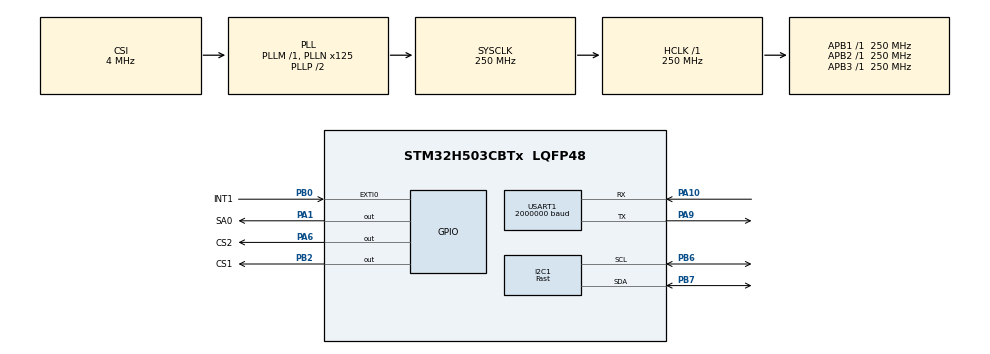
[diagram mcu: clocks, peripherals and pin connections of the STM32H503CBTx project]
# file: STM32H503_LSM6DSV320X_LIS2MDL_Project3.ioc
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I2C1.I2C_Speed_Mode=I2C_Fast
I2C1.Timing=0x10C043E5
Mcu.Family=STM32H5
Mcu.Name=STM32H503CBTx
Mcu.Package=LQFP48
NVIC.EXTI0_IRQn=true\:0\:0\:false\:false\:true\:true\:true\:true
NVIC.PriorityGroup=NVIC_PRIORITYGROUP_4
PA1.GPIO_Label=SA0
PA1.Signal=GPIO_Output
PA10.Mode=Asynchronous
PA10.Signal=USART1_RX
PA6.GPIO_Label=CS2
PA6.Signal=GPIO_Output
PA9.Mode=Asynchronous
PA9.Signal=USART1_TX
PB0.GPIO_Label=INT1
PB0.Signal=GPXTI0
PB2.GPIO_Label=CS1
PB2.Signal=GPIO_Output
PB6.Mode=I2C
PB6.Signal=I2C1_SCL
PB7.Mode=I2C
PB7.Signal=I2C1_SDA
ProjectManager.HeapSize=0x2000
ProjectManager.StackSize=0x4000
ProjectManager.TargetToolchain=MDK-ARM V5.37
RCC.ADCFreq_Value=250000000
RCC.AHBFreq_Value=250000000
RCC.APB1Freq_Value=250000000
RCC.APB1TimFreq_Value=250000000
RCC.APB2Freq_Value=250000000
RCC.APB2TimFreq_Value=250000000
RCC.APB3Freq_Value=250000000
RCC.CSI_VALUE=4000000
RCC.CortexFreq_Value=250000000
RCC.EPOD_VALUE=4000000
RCC.HCLKFreq_Value=250000000
RCC.HSE_VALUE=25000000
RCC.HSI48_VALUE=48000000
RCC.HSI_VALUE=64000000
RCC.LSE_VALUE=32768
RCC.LSIRC_VALUE=32000
RCC.PLL2FRACN=0
RCC.PLLFRACN=0
RCC.PLLN=125
RCC.SYSCLKFreq_VALUE=250000000
RCC.SYSCLKSource=RCC_SYSCLKSOURCE_PLLCLK
RCC.USBFreq_Value=48000000
RCC.VCOOutputFreq_Value=500000000
USART1.BaudRate=2000000
USART1.VirtualMode-Asynchronous=VM_ASYNC
VP_BOOTPATH_VS_BOOTPATH.Mode=BP_Activate
VP_CORTEX_M33_NS_VS_Hclk.Mode=Hclk_Mode
VP_ICACHE_VS_ICACHE.Mode=DirectMappedCache
VP_MEMORYMAP_VS_MEMORYMAP.Mode=CurAppReg
VP_PWR_VS_LPOM.Mode=PowerOptimisation
VP_PWR_VS_SECSignals.Mode=Security/Privilege
board=custom

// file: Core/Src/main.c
/* USER CODE BEGIN Header */
/**
  ******************************************************************************
  * @file           : main.c
  * @brief          : Main program body
  ******************************************************************************
  * @attention
  *
  * Copyright (c) 2026 STMicroelectronics.
  * All rights reserved.
  *
  * This software is licensed under terms that can be found in the LICENSE file
  * in the root directory of this software component.
  * If no LICENSE file comes with this software, it is provided AS-IS.
  *
  ******************************************************************************
  */
/* USER CODE END Header */
#include "main.h"
#include "i2c.h"
#include "icache.h"
#include "usart.h"
#include "gpio.h"

/* USER CODE BEGIN Includes */
#include "stdio.h"
#include "lsm6dsv320x_reg.h"
/* USER CODE END Includes */

void SystemClock_Config(void);
/* USER CODE BEGIN PFP */
int fputc(int ch, FILE *f){
	HAL_UART_Transmit(&huart1 , (uint8_t *)&ch, 1, 0xFFFF);
	return ch;
}

#define SENSOR_BUS hi2c1

/* Private macro -------------------------------------------------------------*/
#define    BOOT_TIME            10 //ms
#define    CNT_FOR_OUTPUT       10

/* Private variables ---------------------------------------------------------*/
static int16_t data_raw_motion[3];
static int16_t data_raw_temperature;
static float_t acceleration_mg[3];
static float_t angular_rate_mdps[3];
static float_t temperature_degC;
static uint8_t whoamI;
static uint8_t tx_buffer[1000];

static lsm6dsv320x_filt_settling_mask_t filt_settling_mask;

/* Extern variables ----------------------------------------------------------*/

/* Private functions ---------------------------------------------------------*/

/*
 *   WARNING:
 *   Functions declare in this section are defined at the end of this file
 *   and are strictly related to the hardware platform used.
 *
 */
static int32_t platform_write(void *handle, uint8_t reg, const uint8_t *bufp,
                              uint16_t len);
static int32_t platform_read(void *handle, uint8_t reg, uint8_t *bufp,
                             uint16_t len);
static void tx_com( uint8_t *tx_buffer, uint16_t len );
static void platform_delay(uint32_t ms);
static void platform_init(void);

static   stmdev_ctx_t dev_ctx;
volatile  uint8_t thread_wake = 0;

typedef struct
{
  float yaw;
  float pitch;
  float roll;
} euler_angle_t;

typedef struct
{
  float quat_w;
  float quat_x;
  float quat_y;
  float quat_z;
} quaternion_t;

static float_t npy_half_to_float(uint16_t h)
{
    union { float_t ret; uint32_t retbits; } conv;
    conv.retbits = lsm6dsv320x_from_f16_to_f32(h);
    return conv.ret;
}

static void sflp2q(float_t quat[4], uint16_t sflp[3])
{
  float_t sumsq = 0;

  quat[0] = npy_half_to_float(sflp[0]);
  quat[1] = npy_half_to_float(sflp[1]);
  quat[2] = npy_half_to_float(sflp[2]);

  for (uint8_t i = 0; i < 3; i++)
    sumsq += quat[i] * quat[i];

  if (sumsq > 1.0f) {
    float_t n = sqrtf(sumsq);
    quat[0] /= n;
    quat[1] /= n;
    quat[2] /= n;
    sumsq = 1.0f;
  }

  quat[3] = sqrtf(1.0f - sumsq);
}

void HAL_GPIO_EXTI_Rising_Callback(uint16_t GPIO_Pin)
{
  if (GPIO_Pin == INT1_Pin) {
    thread_wake = 1;
  }
}

void quaternion_to_euler_angle(quaternion_t *q,euler_angle_t *euler)
{
		if (q->quat_w < 0.0f) {
			q->quat_x *= -1.0f;
			q->quat_y *= -1.0f;
			q->quat_z *= -1.0f;
			q->quat_w *= -1.0f;
		}

		float sqx = q->quat_x * q->quat_x;
		float sqy = q->quat_y * q->quat_y;
		float sqz = q->quat_z * q->quat_z;

		euler->yaw = -atan2f(2.0f * (q->quat_y * q->quat_w + q->quat_x * q->quat_z), 1.0f - 2.0f * (sqy + sqx));
		euler->pitch = -atan2f(2.0f * (q->quat_x * q->quat_y + q->quat_z * q->quat_w), 1.0f - 2.0f * (sqx + sqz));
		euler->roll = -asinf(2.0f * (q->quat_x * q->quat_w - q->quat_y * q->quat_z));

		if (euler->yaw < 0.0f)
		{
			euler->yaw += 2.0f * 3.1415926;
		}

		euler->yaw = 57.29578 * euler->yaw;
		euler->pitch = 57.29578 * euler->pitch;
		euler->roll = 57.29578 * euler->roll;
}
/* USER CODE END PFP */

int main(void)
{

  /* MCU Configuration--------------------------------------------------------*/

  /* Reset of all peripherals, Initializes the Flash interface and the Systick. */
  HAL_Init();

  /* Configure the system clock */
  SystemClock_Config();

  /* Initialize all configured peripherals */
  MX_GPIO_Init();
  MX_I2C1_Init();
  MX_ICACHE_Init();
  MX_USART1_UART_Init();
  /* USER CODE BEGIN 2 */
	printf("HELLO!\n");
  HAL_GPIO_WritePin(CS1_GPIO_Port, CS1_Pin, GPIO_PIN_SET);
  HAL_GPIO_WritePin(SA0_GPIO_Port, SA0_Pin, GPIO_PIN_RESET);
  HAL_GPIO_WritePin(CS2_GPIO_Port, CS2_Pin, GPIO_PIN_SET);
	HAL_Delay(100);

  /* Initialize mems driver interface */
  dev_ctx.write_reg = platform_write;
  dev_ctx.read_reg = platform_read;
  dev_ctx.mdelay = platform_delay;
  dev_ctx.handle = &SENSOR_BUS;
  /* Init test platform */
//  platform_init();
  /* Wait sensor boot time */
  platform_delay(BOOT_TIME);

  /* Check device ID */
  lsm6dsv320x_device_id_get(&dev_ctx, &whoamI);
  printf("WHO_AM_I=0x%02X (expect 0x%02X)\r\n", whoamI, LSM6DSV320X_ID);
  if (whoamI != LSM6DSV320X_ID) {
    printf("ERROR: device id mismatch!\r\n");
    while (1) { }
  }

  /* Perform device power-on-reset */
  lsm6dsv320x_sw_por(&dev_ctx);

  /* Enable Block Data Update */
  lsm6dsv320x_block_data_update_set(&dev_ctx, PROPERTY_ENABLE);

  /* Set Output Data Rate.
   * Selected data rate have to be equal or greater with respect
   * with MLC data rate.
   */
  lsm6dsv320x_xl_setup(&dev_ctx, LSM6DSV320X_ODR_AT_120Hz, LSM6DSV320X_XL_HIGH_PERFORMANCE_MD);
  lsm6dsv320x_gy_setup(&dev_ctx, LSM6DSV320X_ODR_AT_120Hz, LSM6DSV320X_GY_HIGH_PERFORMANCE_MD);
	lsm6dsv320x_hg_xl_data_rate_set(&dev_ctx, LSM6DSV320X_HG_XL_ODR_AT_480Hz, 1);
	lsm6dsv320x_gy_setup(&dev_ctx,LSM6DSV320X_ODR_AT_120Hz,LSM6DSV320X_GY_HIGH_PERFORMANCE_MD);
  /* Set full scale */
  lsm6dsv320x_xl_full_scale_set(&dev_ctx, LSM6DSV320X_2g);
	lsm6dsv320x_hg_xl_full_scale_set(&dev_ctx, LSM6DSV320X_320g);
  lsm6dsv320x_gy_full_scale_set(&dev_ctx, LSM6DSV320X_2000dps);

  /* Configure filtering chain */
  filt_settling_mask.drdy = PROPERTY_ENABLE;
  filt_settling_mask.irq_xl = PROPERTY_ENABLE;
  filt_settling_mask.irq_g = PROPERTY_ENABLE;
  lsm6dsv320x_filt_settling_mask_set(&dev_ctx, filt_settling_mask);
  lsm6dsv320x_filt_gy_lp1_set(&dev_ctx, PROPERTY_ENABLE);
  lsm6dsv320x_filt_gy_lp1_bandwidth_set(&dev_ctx, LSM6DSV320X_GY_ULTRA_LIGHT);
  lsm6dsv320x_filt_xl_lp2_set(&dev_ctx, PROPERTY_ENABLE);
  lsm6dsv320x_filt_xl_lp2_bandwidth_set(&dev_ctx, LSM6DSV320X_XL_STRONG);

  /* --------- SFLP: 120Hz + Game rotation --------- */
  lsm6dsv320x_sflp_data_rate_set(&dev_ctx, LSM6DSV320X_SFLP_120Hz);
  lsm6dsv320x_sflp_game_rotation_set(&dev_ctx, PROPERTY_ENABLE);

  /* 推荐：写入 gbias 初值（与你能跑通版本一致） */
  lsm6dsv320x_sflp_gbias_t gbias = {0};
  gbias.gbias_x = 0.0f;
  gbias.gbias_y = 0.0f;
  gbias.gbias_z = 0.0f;
  lsm6dsv320x_sflp_game_gbias_set(&dev_ctx, &gbias);

  /* --------- INT1 route: 用 DRDY_XL 做唤醒（你现在中断链路已通） --------- */
  lsm6dsv320x_pin_int1_route_t pin_int1 = {0};
  pin_int1.drdy_xl = PROPERTY_ENABLE;
  lsm6dsv320x_pin_int1_route_set(&dev_ctx, &pin_int1);

	uint8_t sumcheck = 0;
	uint8_t addcheck = 0;

	uint8_t data_angular_rate_raw[16]={0};
	data_angular_rate_raw[0]=0xAB;//帧头
	data_angular_rate_raw[1]=0xFD;//源地址
	data_angular_rate_raw[2]=0xFE;//目标地址
	data_angular_rate_raw[3]=0x03;//功能码ID
	data_angular_rate_raw[4]=0x08;//数据长度LEN
	data_angular_rate_raw[5]=0x00;//数据长度LEN 8
	data_angular_rate_raw[6]=0x01;//mode = 1

	data_angular_rate_raw[13]=0x00;//FUSION _STA：融合状态

  /* USER CODE END 2 */

  /* Infinite loop */
  /* USER CODE BEGIN WHILE */
  while (1)
  {

		  if (thread_wake) {
      thread_wake = 0;
      /* 关键：必须先确认 XL new data（你验证过必须这样才有数据） */
      lsm6dsv320x_data_ready_t status;
      lsm6dsv320x_flag_data_ready_get(&dev_ctx, &status);
      if (status.drdy_xl) {

        /* 建议：读一次 XL 输出，等价“消费/清源”，保证下一次中断继续来 */
        lsm6dsv320x_acceleration_raw_get(&dev_ctx, data_raw_motion);

        /* 如果你希望再稳一点，可以加 SFLP ready 门控 */
        lsm6dsv320x_all_sources_t all_sources;
        lsm6dsv320x_all_sources_get(&dev_ctx, &all_sources);
        if (!all_sources.emb_func_stand_by) {
          continue;
        }

        /* 读 SFLP 四元数 */
        lsm6dsv320x_quaternion_t q_st;
        lsm6dsv320x_sflp_quaternion_get(&dev_ctx, &q_st);

        /* 轴变换：保持你“能跑通欧拉角”工程的映射 */
        quaternion_t q;
        q.quat_w =  q_st.quat_w;
        q.quat_x = -q_st.quat_y;
        q.quat_y =  q_st.quat_z;
        q.quat_z = -q_st.quat_x;

        euler_angle_t e;
        quaternion_to_euler_angle(&q, &e);

        /* 可选：Yaw 显示到 [-180, 180] */
        float yaw_print = e.yaw;
        if (yaw_print > 180.0f) {
          yaw_print -= 360.0f;
        }

//        printf("Roll=%.2f, Pitch=%.2f, Yaw=%.2f\r\n",
//               e.roll, e.pitch, yaw_print);

			// 定义用于存放欧拉角的整数变量（放大100倍，用于发送）
			int16_t	Roll_int16;
			int16_t	Pitch_int16;
			int16_t	Yaw_int16;
			// 将浮点欧拉角转成定点整数，单位：度 × 100
			Roll_int16 = (int16_t)((e.roll) * 100);
			Pitch_int16 = (int16_t)((e.pitch) * 100);
			Yaw_int16 = (int16_t)((e.yaw) * 100 - 18000);

//			printf("2:Roll=%d,Pitch=%d,Yaw=%d \n",
//											Roll_int16,Pitch_int16,Yaw_int16);

			data_angular_rate_raw[7] = (uint8_t)(Roll_int16 >> 8);//roll
			data_angular_rate_raw[8] = (uint8_t)(Roll_int16 );
			data_angular_rate_raw[9] = (uint8_t)(Pitch_int16 >> 8);//pitch
			data_angular_rate_raw[10] = (uint8_t)(Pitch_int16 );
			data_angular_rate_raw[11] = (uint8_t)(Yaw_int16 >> 8);//yaw
			data_angular_rate_raw[12] = (uint8_t)(Yaw_int16 );

			data_angular_rate_raw[13] = 0;
			sumcheck = 0;
			addcheck = 0;
			for(uint16_t i=0; i < 14; i++)
			{
				sumcheck += data_angular_rate_raw[i]; //从帧头开始，对每一字节进行求和，直到 DATA 区结束
				addcheck += sumcheck; //每一字节的求和操作，进行一次 sumcheck 的累加
			}
			data_angular_rate_raw[14]=sumcheck;
			data_angular_rate_raw[15]=addcheck;

			HAL_UART_Transmit(&huart1 , (uint8_t *)&data_angular_rate_raw, 16, 0xFFFF);

      }
    }

    /* USER CODE END WHILE */

  }
}

void SystemClock_Config(void)
{
  RCC_OscInitTypeDef RCC_OscInitStruct = {0};
  RCC_ClkInitTypeDef RCC_ClkInitStruct = {0};

  /** Configure the main internal regulator output voltage
  */
  __HAL_PWR_VOLTAGESCALING_CONFIG(PWR_REGULATOR_VOLTAGE_SCALE0);

  while(!__HAL_PWR_GET_FLAG(PWR_FLAG_VOSRDY)) {}

  /** Initializes the RCC Oscillators according to the specified parameters
  * in the RCC_OscInitTypeDef structure.
  */
  RCC_OscInitStruct.OscillatorType = RCC_OSCILLATORTYPE_CSI;
  RCC_OscInitStruct.CSIState = RCC_CSI_ON;
  RCC_OscInitStruct.CSICalibrationValue = RCC_CSICALIBRATION_DEFAULT;
  RCC_OscInitStruct.PLL.PLLState = RCC_PLL_ON;
  RCC_OscInitStruct.PLL.PLLSource = RCC_PLL1_SOURCE_CSI;
  RCC_OscInitStruct.PLL.PLLM = 1;
  RCC_OscInitStruct.PLL.PLLN = 125;
  RCC_OscInitStruct.PLL.PLLP = 2;
  RCC_OscInitStruct.PLL.PLLQ = 2;
  RCC_OscInitStruct.PLL.PLLR = 2;
  RCC_OscInitStruct.PLL.PLLRGE = RCC_PLL1_VCIRANGE_2;
  RCC_OscInitStruct.PLL.PLLVCOSEL = RCC_PLL1_VCORANGE_WIDE;
  RCC_OscInitStruct.PLL.PLLFRACN = 0;
  if (HAL_RCC_OscConfig(&RCC_OscInitStruct) != HAL_OK)
  {
    Error_Handler();
  }

  /** Initializes the CPU, AHB and APB buses clocks
  */
  RCC_ClkInitStruct.ClockType = RCC_CLOCKTYPE_HCLK|RCC_CLOCKTYPE_SYSCLK
                              |RCC_CLOCKTYPE_PCLK1|RCC_CLOCKTYPE_PCLK2
                              |RCC_CLOCKTYPE_PCLK3;
  RCC_ClkInitStruct.SYSCLKSource = RCC_SYSCLKSOURCE_PLLCLK;
  RCC_ClkInitStruct.AHBCLKDivider = RCC_SYSCLK_DIV1;
  RCC_ClkInitStruct.APB1CLKDivider = RCC_HCLK_DIV1;
  RCC_ClkInitStruct.APB2CLKDivider = RCC_HCLK_DIV1;
  RCC_ClkInitStruct.APB3CLKDivider = RCC_HCLK_DIV1;

  if (HAL_RCC_ClockConfig(&RCC_ClkInitStruct, FLASH_LATENCY_5) != HAL_OK)
  {
    Error_Handler();
  }

  /** Configure the programming delay
  */
  __HAL_FLASH_SET_PROGRAM_DELAY(FLASH_PROGRAMMING_DELAY_2);
}

/* USER CODE BEGIN 4 */
/*
 * @brief  Write generic device register (platform dependent)
 *
 * @param  handle    customizable argument. In this examples is used in
 *                   order to select the correct sensor bus handler.
 * @param  reg       register to write
 * @param  bufp      pointer to data to write in register reg
 * @param  len       number of consecutive register to write
 *
 */
static int32_t platform_write(void *handle, uint8_t reg, const uint8_t *bufp,
                              uint16_t len)
{

  HAL_I2C_Mem_Write(handle, LSM6DSV320X_I2C_ADD_L, reg,
                    I2C_MEMADD_SIZE_8BIT, (uint8_t*) bufp, len, 1000);
  return 0;
}

/*
 * @brief  Read generic device register (platform dependent)
 *
 * @param  handle    customizable argument. In this examples is used in
 *                   order to select the correct sensor bus handler.
 * @param  reg       register to read
 * @param  bufp      pointer to buffer that store the data read
 * @param  len       number of consecutive register to read
 *
 */
static int32_t platform_read(void *handle, uint8_t reg, uint8_t *bufp,
                             uint16_t len)
{
  HAL_I2C_Mem_Read(handle, LSM6DSV320X_I2C_ADD_L, reg,
                   I2C_MEMADD_SIZE_8BIT, bufp, len, 1000);
  return 0;
}

/*
 * @brief  platform specific delay (platform dependent)
 *
 * @param  ms        delay in ms
 *
 */
static void platform_delay(uint32_t ms)
{
  HAL_Delay(ms);
}
/* USER CODE END 4 */

void Error_Handler(void)
{
  __disable_irq();
  while (1)
  {
  }
}
